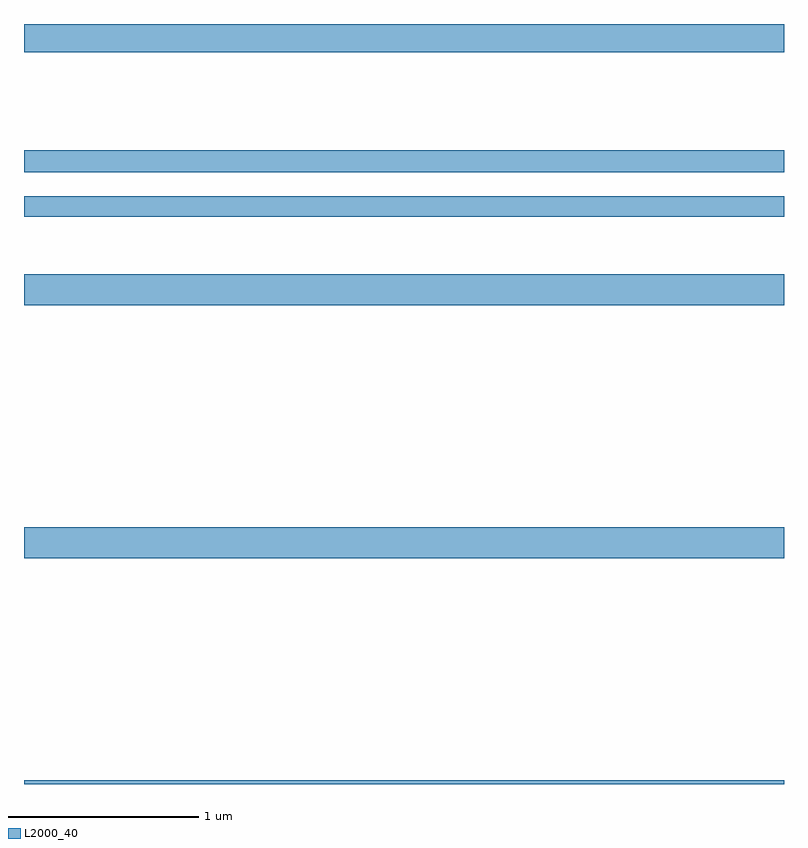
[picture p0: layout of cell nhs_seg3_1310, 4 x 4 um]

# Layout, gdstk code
import gdstk
lib = gdstk.Library(unit=1e-6, precision=1e-09)
def R(c, l, rs):  # rectangles x0, y0, x1, y1
    for r in rs: c.add(gdstk.rectangle(r[:2], r[2:], *l))
L2000_40 = (2000, 40)

nhs_seg3_1310 = lib.new_cell('nhs_seg3_1310')
R(nhs_seg3_1310, L2000_40, [(179,694.4,183,694.42), (179,695.588,183,695.752), (179,696.92,183,697.084), (179,697.386,183,697.494), (179,697.62,183,697.736), (179,698.252,183,698.4)])

lib.write_gds('nhs_seg3_1310.gds')
